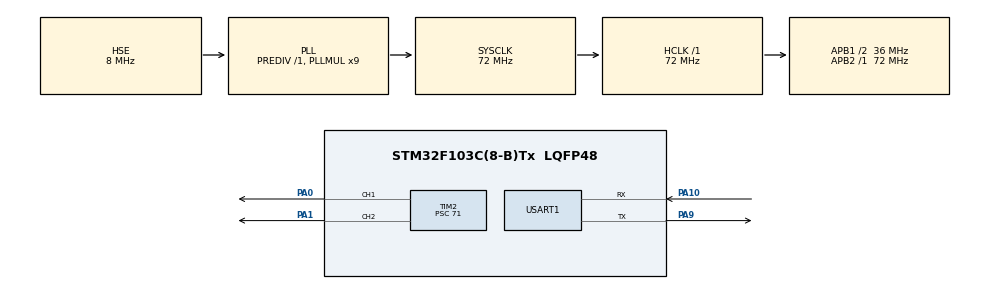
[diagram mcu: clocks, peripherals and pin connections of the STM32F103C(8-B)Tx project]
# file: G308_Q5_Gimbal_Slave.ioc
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FREERTOS.Mutexes01=ServoMutex,Dynamic,NULL,Available
FREERTOS.Queues01=RxByteQueue,32,uint8_t,0,Dynamic,NULL,NULL
FREERTOS.Tasks01=RxTask,1,256,StartRxTask,Default,NULL,Dynamic,NULL,NULL;ServoTask,0,256,StartServoTask,Default,NULL,Dynamic,NULL,NULL
Mcu.Family=STM32F1
Mcu.Name=STM32F103C(8-B)Tx
Mcu.Package=LQFP48
NVIC.PriorityGroup=NVIC_PRIORITYGROUP_4
NVIC.TIM4_IRQn=true\:15\:0\:false\:false\:true\:false\:false\:true\:true
NVIC.TimeBase=TIM4_IRQn
NVIC.TimeBaseIP=TIM4
NVIC.USART1_IRQn=true\:5\:0\:false\:false\:true\:true\:true\:true\:true
PA0-WKUP.Signal=S_TIM2_CH1_ETR
PA1.Signal=S_TIM2_CH2
PA10.Mode=Asynchronous
PA10.Signal=USART1_RX
PA13.Mode=Serial_Wire
PA13.Signal=SYS_JTMS-SWDIO
PA14.Mode=Serial_Wire
PA14.Signal=SYS_JTCK-SWCLK
PA9.Mode=Asynchronous
PA9.Signal=USART1_TX
PD0-OSC_IN.Mode=HSE-External-Oscillator
PD0-OSC_IN.Signal=RCC_OSC_IN
PD1-OSC_OUT.Mode=HSE-External-Oscillator
PD1-OSC_OUT.Signal=RCC_OSC_OUT
ProjectManager.HeapSize=0x200
ProjectManager.StackSize=0x400
ProjectManager.TargetToolchain=CMake
RCC.AHBFreq_Value=72000000
RCC.APB1CLKDivider=RCC_HCLK_DIV2
RCC.APB1Freq_Value=36000000
RCC.APB1TimFreq_Value=72000000
RCC.APB2Freq_Value=72000000
RCC.APB2TimFreq_Value=72000000
RCC.HCLKFreq_Value=72000000
RCC.PLLMUL=RCC_PLL_MUL9
RCC.PLLSourceVirtual=RCC_PLLSOURCE_HSE
RCC.SYSCLKFreq_VALUE=72000000
RCC.SYSCLKSource=RCC_SYSCLKSOURCE_PLLCLK
RCC.USBFreq_Value=72000000
SH.S_TIM2_CH1_ETR.0=TIM2_CH1,PWM Generation1 CH1
SH.S_TIM2_CH2.0=TIM2_CH2,PWM Generation2 CH2
TIM2.AutoReloadPreload=TIM_AUTORELOAD_PRELOAD_ENABLE
TIM2.Channel-PWM\ Generation1\ CH1=TIM_CHANNEL_1
TIM2.Channel-PWM\ Generation2\ CH2=TIM_CHANNEL_2
TIM2.Period=19999
TIM2.Prescaler=71
TIM2.Pulse-PWM\ Generation1\ CH1=1500
TIM2.Pulse-PWM\ Generation2\ CH2=1500
USART1.VirtualMode=VM_ASYNC
VP_FREERTOS_VS_CMSIS_V1.Mode=CMSIS_V1
VP_SYS_VS_tim4.Mode=TIM4
VP_TIM2_VS_ClockSourceINT.Mode=Internal
board=custom

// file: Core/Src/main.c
/* USER CODE BEGIN Header */
/**
  ******************************************************************************
  * @file           : main.c
  * @brief          : Main program body
  ******************************************************************************
  * @attention
  *
  * Copyright (c) 2026 STMicroelectronics.
  * All rights reserved.
  *
  * This software is licensed under terms that can be found in the LICENSE file
  * in the root directory of this software component.
  * If no LICENSE file comes with this software, it is provided AS-IS.
  *
  ******************************************************************************
  */
/* USER CODE END Header */
#include "main.h"
#include "cmsis_os.h"
#include "tim.h"
#include "usart.h"
#include "gpio.h"

void SystemClock_Config(void);
void MX_FREERTOS_Init(void);

int main(void)
{

  /* MCU Configuration--------------------------------------------------------*/

  /* Reset of all peripherals, Initializes the Flash interface and the Systick. */
  HAL_Init();

  /* Configure the system clock */
  SystemClock_Config();

  /* Initialize all configured peripherals */
  MX_GPIO_Init();
  MX_TIM2_Init();
  MX_USART1_UART_Init();

  /* Call init function for freertos objects (in cmsis_os2.c) */
  MX_FREERTOS_Init();

  /* Start scheduler */
  osKernelStart();

  /* We should never get here as control is now taken by the scheduler */

  /* Infinite loop */
  while (1)
  {

  }
}

void SystemClock_Config(void)
{
  RCC_OscInitTypeDef RCC_OscInitStruct = {0};
  RCC_ClkInitTypeDef RCC_ClkInitStruct = {0};

  /** Initializes the RCC Oscillators according to the specified parameters
  * in the RCC_OscInitTypeDef structure.
  */
  RCC_OscInitStruct.OscillatorType = RCC_OSCILLATORTYPE_HSE;
  RCC_OscInitStruct.HSEState = RCC_HSE_ON;
  RCC_OscInitStruct.HSEPredivValue = RCC_HSE_PREDIV_DIV1;
  RCC_OscInitStruct.HSIState = RCC_HSI_ON;
  RCC_OscInitStruct.PLL.PLLState = RCC_PLL_ON;
  RCC_OscInitStruct.PLL.PLLSource = RCC_PLLSOURCE_HSE;
  RCC_OscInitStruct.PLL.PLLMUL = RCC_PLL_MUL9;
  if (HAL_RCC_OscConfig(&RCC_OscInitStruct) != HAL_OK)
  {
    Error_Handler();
  }

  /** Initializes the CPU, AHB and APB buses clocks
  */
  RCC_ClkInitStruct.ClockType = RCC_CLOCKTYPE_HCLK|RCC_CLOCKTYPE_SYSCLK
                              |RCC_CLOCKTYPE_PCLK1|RCC_CLOCKTYPE_PCLK2;
  RCC_ClkInitStruct.SYSCLKSource = RCC_SYSCLKSOURCE_PLLCLK;
  RCC_ClkInitStruct.AHBCLKDivider = RCC_SYSCLK_DIV1;
  RCC_ClkInitStruct.APB1CLKDivider = RCC_HCLK_DIV2;
  RCC_ClkInitStruct.APB2CLKDivider = RCC_HCLK_DIV1;

  if (HAL_RCC_ClockConfig(&RCC_ClkInitStruct, FLASH_LATENCY_2) != HAL_OK)
  {
    Error_Handler();
  }
}

void HAL_TIM_PeriodElapsedCallback(TIM_HandleTypeDef *htim)
{
  if (htim->Instance == TIM4)
  {
    HAL_IncTick();
  }
}

void Error_Handler(void)
{
  __disable_irq();
  while (1)
  {
  }
}

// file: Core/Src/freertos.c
/* USER CODE BEGIN Header */
/**
  ******************************************************************************
  * File Name          : freertos.c
  * Description        : Code for freertos applications
  ******************************************************************************
  * @attention
  *
  * Copyright (c) 2026 STMicroelectronics.
  * All rights reserved.
  *
  * This software is licensed under terms that can be found in the LICENSE file
  * in the root directory of this software component.
  * If no LICENSE file comes with this software, it is provided AS-IS.
  *
  ******************************************************************************
  */
/* USER CODE END Header */

#include "FreeRTOS.h"
#include "task.h"
#include "main.h"
#include "cmsis_os.h"

/* USER CODE BEGIN Includes */
#include "q5_receiver.h"
/* USER CODE END Includes */

/* USER CODE BEGIN Variables */
static Q5_ServoCommand_t s_servoCommand;
/* USER CODE END Variables */
osThreadId RxTaskHandle;
osThreadId ServoTaskHandle;
osMessageQId RxByteQueueHandle;
osMutexId ServoMutexHandle;

void StartRxTask(void const * argument);
void StartServoTask(void const * argument);

void MX_FREERTOS_Init(void); /* (MISRA C 2004 rule 8.1) */

/* GetIdleTaskMemory prototype (linked to static allocation support) */
void vApplicationGetIdleTaskMemory( StaticTask_t **ppxIdleTaskTCBBuffer, StackType_t **ppxIdleTaskStackBuffer, uint32_t *pulIdleTaskStackSize );

/* USER CODE BEGIN GET_IDLE_TASK_MEMORY */
static StaticTask_t xIdleTaskTCBBuffer;
static StackType_t xIdleStack[configMINIMAL_STACK_SIZE];

void vApplicationGetIdleTaskMemory( StaticTask_t **ppxIdleTaskTCBBuffer, StackType_t **ppxIdleTaskStackBuffer, uint32_t *pulIdleTaskStackSize )
{
  *ppxIdleTaskTCBBuffer = &xIdleTaskTCBBuffer;
  *ppxIdleTaskStackBuffer = &xIdleStack[0];
  *pulIdleTaskStackSize = configMINIMAL_STACK_SIZE;
  /* place for user code */
}
/* USER CODE END GET_IDLE_TASK_MEMORY */

void MX_FREERTOS_Init(void) {
  /* Create the mutex(es) */
  /* definition and creation of ServoMutex */
  osMutexDef(ServoMutex);
  ServoMutexHandle = osMutexCreate(osMutex(ServoMutex));

  /* Create the queue(s) */
  /* definition and creation of RxByteQueue */
  osMessageQDef(RxByteQueue, 32, uint8_t);
  RxByteQueueHandle = osMessageCreate(osMessageQ(RxByteQueue), NULL);

  /* Create the thread(s) */
  /* definition and creation of RxTask */
  osThreadDef(RxTask, StartRxTask, osPriorityAboveNormal, 0, 256);
  RxTaskHandle = osThreadCreate(osThread(RxTask), NULL);

  /* definition and creation of ServoTask */
  osThreadDef(ServoTask, StartServoTask, osPriorityNormal, 0, 256);
  ServoTaskHandle = osThreadCreate(osThread(ServoTask), NULL);

}

void StartRxTask(void const * argument)
{
  /* USER CODE BEGIN StartRxTask */
  Q5_ServoCommand_t localCommand;
  osEvent event;

  (void)argument;
  Q5_ReceiverInit(&localCommand);
  if (osMutexWait(ServoMutexHandle, osWaitForever) == osOK)
  {
    s_servoCommand = localCommand;
    osMutexRelease(ServoMutexHandle);
  }

  /* Infinite loop */
  for(;;)
  {
    event = osMessageGet(RxByteQueueHandle, osWaitForever);
    if ((event.status == osEventMessage) &&
        Q5_ReceiverParseByte((uint8_t)event.value.v, &localCommand))
    {
      if (osMutexWait(ServoMutexHandle, osWaitForever) == osOK)
      {
        s_servoCommand = localCommand;
        osMutexRelease(ServoMutexHandle);
      }
    }
  }
  /* USER CODE END StartRxTask */
}

void StartServoTask(void const * argument)
{
  /* USER CODE BEGIN StartServoTask */
  Q5_ServoCommand_t localCommand = {0};

  (void)argument;
  osDelay(20);
  /* Infinite loop */
  for(;;)
  {
    if (osMutexWait(ServoMutexHandle, osWaitForever) == osOK)
    {
      localCommand = s_servoCommand;
      osMutexRelease(ServoMutexHandle);
    }
    Q5_ServoApply(&localCommand);
    osDelay(20);
  }
  /* USER CODE END StartServoTask */
}
